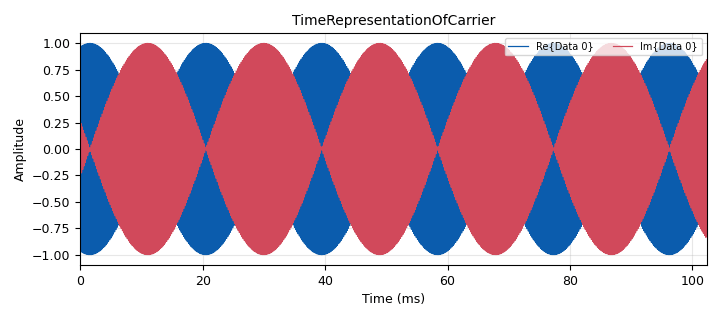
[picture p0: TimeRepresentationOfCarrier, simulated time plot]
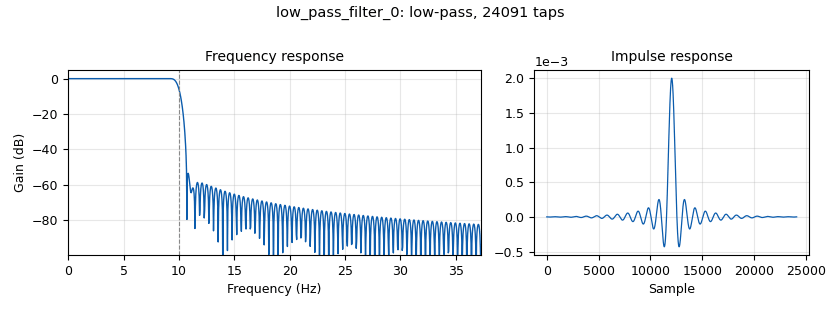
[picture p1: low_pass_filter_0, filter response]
<?xml version='1.0' encoding='utf-8'?>
<?grc format='1' created='3.7.9'?>
<flow_graph>
<block>
<key>options</key>
<param><key>id</key><value>top_block</value></param>
<param><key>category</key><value>Custom</value></param>
<param><key>generate_options</key><value>qt_gui</value></param>
</block>
<block>
<key>variable</key>
<param><key>id</key><value>freq</value></param>
<param><key>value</key><value>2e3</value></param>
</block>
<block>
<key>variable_qtgui_range</key>
<param><key>id</key><value>samp_rate</value></param>
<param><key>value</key><value>10e3</value></param>
<param><key>orient</key><value>Qt.Horizontal</value></param>
<param><key>start</key><value>1e3</value></param>
<param><key>step</key><value>200</value></param>
<param><key>stop</key><value>40e3</value></param>
</block>
<block>
<key>qtgui_freq_sink_x</key>
<param><key>id</key><value>FrequencyDomainOfDemodulatedSignal</value></param>
<param><key>autoscale</key><value>True</value></param>
<param><key>bw</key><value>1000e6</value></param>
<param><key>fc</key><value>0</value></param>
<param><key>ctrlpanel</key><value>True</value></param>
<param><key>fftsize</key><value>1024</value></param>
<param><key>grid</key><value>True</value></param>
<param><key>showports</key><value>True</value></param>
<param><key>type</key><value>complex</value></param>
<param><key>wintype</key><value>firdes.WIN_BLACKMAN_hARRIS</value></param>
</block>
<block>
<key>qtgui_freq_sink_x</key>
<param><key>id</key><value>LPDemodulatedSignal</value></param>
<param><key>autoscale</key><value>True</value></param>
<param><key>bw</key><value>samp_rate</value></param>
<param><key>fc</key><value>0</value></param>
<param><key>ctrlpanel</key><value>True</value></param>
<param><key>fftsize</key><value>1024</value></param>
<param><key>grid</key><value>True</value></param>
<param><key>showports</key><value>True</value></param>
<param><key>type</key><value>complex</value></param>
<param><key>wintype</key><value>firdes.WIN_BLACKMAN_hARRIS</value></param>
</block>
<block>
<key>qtgui_freq_sink_x</key>
<param><key>id</key><value>LPDemodulatedSignal_0</value></param>
<param><key>autoscale</key><value>True</value></param>
<param><key>bw</key><value>1e9</value></param>
<param><key>fc</key><value>0</value></param>
<param><key>ctrlpanel</key><value>True</value></param>
<param><key>fftsize</key><value>1024</value></param>
<param><key>grid</key><value>True</value></param>
<param><key>showports</key><value>True</value></param>
<param><key>type</key><value>complex</value></param>
<param><key>wintype</key><value>firdes.WIN_BLACKMAN_hARRIS</value></param>
</block>
<block>
<key>qtgui_time_sink_x</key>
<param><key>id</key><value>TimeDomainForDemodSignal</value></param>
<param><key>autoscale</key><value>True</value></param>
<param><key>ctrlpanel</key><value>True</value></param>
<param><key>grid</key><value>True</value></param>
<param><key>color1</key><value>"blue"</value></param>
<param><key>label1</key><value></value></param>
<param><key>size</key><value>1024</value></param>
<param><key>srate</key><value>samp_rate</value></param>
<param><key>type</key><value>float</value></param>
</block>
<block>
<key>qtgui_time_sink_x</key>
<param><key>id</key><value>TimeRepresentationOfCarrier</value></param>
<param><key>autoscale</key><value>True</value></param>
<param><key>ctrlpanel</key><value>True</value></param>
<param><key>grid</key><value>True</value></param>
<param><key>color1</key><value>"blue"</value></param>
<param><key>label1</key><value></value></param>
<param><key>color2</key><value>"red"</value></param>
<param><key>label2</key><value></value></param>
<param><key>size</key><value>1024</value></param>
<param><key>srate</key><value>samp_rate</value></param>
<param><key>type</key><value>complex</value></param>
</block>
<block>
<key>qtgui_time_sink_x</key>
<param><key>id</key><value>TimeRepresentationOfCarrier_0</value></param>
<param><key>autoscale</key><value>True</value></param>
<param><key>ctrlpanel</key><value>True</value></param>
<param><key>grid</key><value>True</value></param>
<param><key>color1</key><value>"blue"</value></param>
<param><key>label1</key><value></value></param>
<param><key>color2</key><value>"red"</value></param>
<param><key>label2</key><value></value></param>
<param><key>size</key><value>1024</value></param>
<param><key>srate</key><value>samp_rate</value></param>
<param><key>type</key><value>complex</value></param>
</block>
<block>
<key>qtgui_time_sink_x</key>
<param><key>id</key><value>Time_1</value></param>
<param><key>_enabled</key><value>0</value></param>
<param><key>color1</key><value>"blue"</value></param>
<param><key>label1</key><value></value></param>
<param><key>size</key><value>1024</value></param>
<param><key>srate</key><value>samp_rate</value></param>
<param><key>type</key><value>float</value></param>
</block>
<block>
<key>analog_sig_source_x</key>
<param><key>id</key><value>analog_sig_source_x_0</value></param>
<param><key>amp</key><value>1</value></param>
<param><key>_enabled</key><value>0</value></param>
<param><key>freq</key><value>freq</value></param>
<param><key>offset</key><value>0</value></param>
<param><key>type</key><value>float</value></param>
<param><key>samp_rate</key><value>samp_rate</value></param>
<param><key>waveform</key><value>analog.GR_COS_WAVE</value></param>
</block>
<block>
<key>analog_sig_source_x</key>
<param><key>id</key><value>analog_sig_source_x_0_0</value></param>
<param><key>amp</key><value>1</value></param>
<param><key>freq</key><value>434.015e6</value></param>
<param><key>offset</key><value>0</value></param>
<param><key>type</key><value>complex</value></param>
<param><key>samp_rate</key><value>samp_rate</value></param>
<param><key>waveform</key><value>analog.GR_SIN_WAVE</value></param>
</block>
<block>
<key>analog_sig_source_x</key>
<param><key>id</key><value>analog_sig_source_x_0_0_0</value></param>
<param><key>amp</key><value>1</value></param>
<param><key>_enabled</key><value>0</value></param>
<param><key>freq</key><value>10</value></param>
<param><key>offset</key><value>0</value></param>
<param><key>type</key><value>int</value></param>
<param><key>samp_rate</key><value>samp_rate</value></param>
<param><key>waveform</key><value>analog.GR_SQR_WAVE</value></param>
</block>
<block>
<key>blocks_complex_to_mag</key>
<param><key>id</key><value>blocks_complex_to_mag_0</value></param>
</block>
<block>
<key>blocks_multiply_const_vxx</key>
<param><key>id</key><value>blocks_multiply_const_vxx_0</value></param>
<param><key>const</key><value>2</value></param>
<param><key>type</key><value>float</value></param>
</block>
<block>
<key>blocks_multiply_xx</key>
<param><key>id</key><value>blocks_multiply_xx_0</value></param>
<param><key>_enabled</key><value>0</value></param>
<param><key>type</key><value>complex</value></param>
</block>
<block>
<key>blocks_multiply_xx</key>
<param><key>id</key><value>blocks_multiply_xx_0_0</value></param>
<param><key>type</key><value>complex</value></param>
</block>
<block>
<key>blocks_sample_and_hold_xx</key>
<param><key>id</key><value>blocks_sample_and_hold_xx_0</value></param>
<param><key>_enabled</key><value>0</value></param>
<param><key>type</key><value>float</value></param>
</block>
<block>
<key>blocks_threshold_ff</key>
<param><key>id</key><value>blocks_threshold_ff_0</value></param>
<param><key>_enabled</key><value>0</value></param>
<param><key>high</key><value>100</value></param>
<param><key>init</key><value>0</value></param>
<param><key>low</key><value>-100</value></param>
</block>
<block>
<key>blocks_throttle</key>
<param><key>id</key><value>blocks_throttle_0</value></param>
<param><key>_enabled</key><value>0</value></param>
<param><key>samples_per_second</key><value>samp_rate</value></param>
<param><key>type</key><value>float</value></param>
</block>
<block>
<key>low_pass_filter</key>
<param><key>id</key><value>low_pass_filter_0</value></param>
<param><key>cutoff_freq</key><value>10</value></param>
<param><key>decim</key><value>1</value></param>
<param><key>type</key><value>fir_filter_ccf</value></param>
<param><key>gain</key><value>1</value></param>
<param><key>samp_rate</key><value>samp_rate</value></param>
<param><key>width</key><value>1</value></param>
<param><key>win</key><value>firdes.WIN_HAMMING</value></param>
</block>
<block>
<key>qtgui_tab_widget</key>
<param><key>id</key><value>qtgui_tab_widget_0</value></param>
<param><key>label0</key><value>LPDemodulatedSignal</value></param>
<param><key>label1</key><value>FrequencyDomainOfDemodulatedSignal</value></param>
<param><key>label2</key><value>TimeRepresentationOfCarrier</value></param>
<param><key>label3</key><value>TimeDomainForDemodSignal</value></param>
<param><key>num_tabs</key><value>4</value></param>
</block>
<block>
<key>rational_resampler_xxx</key>
<param><key>id</key><value>rational_resampler_xxx_0</value></param>
<param><key>decim</key><value>1</value></param>
<param><key>fbw</key><value>0.45</value></param>
<param><key>interp</key><value>1</value></param>
<param><key>taps</key><value></value></param>
<param><key>type</key><value>fff</value></param>
</block>
<block>
<key>rtlsdr_source</key>
<param><key>id</key><value>rtlsdr_source_0</value></param>
<param><key>bb_gain0</key><value>20</value></param>
<param><key>bw0</key><value>10000</value></param>
<param><key>freq0</key><value>freq</value></param>
<param><key>gain_mode0</key><value>False</value></param>
<param><key>if_gain0</key><value>20</value></param>
<param><key>gain0</key><value>37.2</value></param>
<param><key>args</key><value></value></param>
<param><key>type</key><value>fc32</value></param>
<param><key>sample_rate</key><value>samp_rate</value></param>
<param><key>sync</key><value></value></param>
</block>
<connection><source_block_id>analog_sig_source_x_0</source_block_id><sink_block_id>blocks_multiply_xx_0</sink_block_id><source_key>0</source_key><sink_key>0</sink_key></connection>
<connection><source_block_id>analog_sig_source_x_0_0</source_block_id><sink_block_id>TimeRepresentationOfCarrier</sink_block_id><source_key>0</source_key><sink_key>0</sink_key></connection>
<connection><source_block_id>analog_sig_source_x_0_0</source_block_id><sink_block_id>blocks_multiply_xx_0_0</sink_block_id><source_key>0</source_key><sink_key>1</sink_key></connection>
<connection><source_block_id>analog_sig_source_x_0_0_0</source_block_id><sink_block_id>blocks_threshold_ff_0</sink_block_id><source_key>0</source_key><sink_key>0</sink_key></connection>
<connection><source_block_id>blocks_complex_to_mag_0</source_block_id><sink_block_id>blocks_multiply_const_vxx_0</sink_block_id><source_key>0</source_key><sink_key>0</sink_key></connection>
<connection><source_block_id>blocks_multiply_const_vxx_0</source_block_id><sink_block_id>blocks_sample_and_hold_xx_0</sink_block_id><source_key>0</source_key><sink_key>0</sink_key></connection>
<connection><source_block_id>blocks_multiply_const_vxx_0</source_block_id><sink_block_id>rational_resampler_xxx_0</sink_block_id><source_key>0</source_key><sink_key>0</sink_key></connection>
<connection><source_block_id>blocks_multiply_xx_0</source_block_id><sink_block_id>FrequencyDomainOfDemodulatedSignal</sink_block_id><source_key>0</source_key><sink_key>0</sink_key></connection>
<connection><source_block_id>blocks_multiply_xx_0</source_block_id><sink_block_id>blocks_multiply_xx_0_0</sink_block_id><source_key>0</source_key><sink_key>0</sink_key></connection>
<connection><source_block_id>blocks_multiply_xx_0_0</source_block_id><sink_block_id>FrequencyDomainOfDemodulatedSignal</sink_block_id><source_key>0</source_key><sink_key>0</sink_key></connection>
<connection><source_block_id>blocks_multiply_xx_0_0</source_block_id><sink_block_id>low_pass_filter_0</sink_block_id><source_key>0</source_key><sink_key>0</sink_key></connection>
<connection><source_block_id>blocks_sample_and_hold_xx_0</source_block_id><sink_block_id>Time_1</sink_block_id><source_key>0</source_key><sink_key>0</sink_key></connection>
<connection><source_block_id>blocks_threshold_ff_0</source_block_id><sink_block_id>blocks_sample_and_hold_xx_0</sink_block_id><source_key>0</source_key><sink_key>1</sink_key></connection>
<connection><source_block_id>blocks_throttle_0</source_block_id><sink_block_id>LPDemodulatedSignal</sink_block_id><source_key>0</source_key><sink_key>0</sink_key></connection>
<connection><source_block_id>blocks_throttle_0</source_block_id><sink_block_id>TimeDomainForDemodSignal</sink_block_id><source_key>0</source_key><sink_key>0</sink_key></connection>
<connection><source_block_id>low_pass_filter_0</source_block_id><sink_block_id>LPDemodulatedSignal</sink_block_id><source_key>0</source_key><sink_key>0</sink_key></connection>
<connection><source_block_id>low_pass_filter_0</source_block_id><sink_block_id>blocks_complex_to_mag_0</sink_block_id><source_key>0</source_key><sink_key>0</sink_key></connection>
<connection><source_block_id>low_pass_filter_0</source_block_id><sink_block_id>blocks_throttle_0</sink_block_id><source_key>0</source_key><sink_key>0</sink_key></connection>
<connection><source_block_id>rational_resampler_xxx_0</source_block_id><sink_block_id>TimeDomainForDemodSignal</sink_block_id><source_key>0</source_key><sink_key>0</sink_key></connection>
<connection><source_block_id>rtlsdr_source_0</source_block_id><sink_block_id>LPDemodulatedSignal_0</sink_block_id><source_key>0</source_key><sink_key>0</sink_key></connection>
<connection><source_block_id>rtlsdr_source_0</source_block_id><sink_block_id>TimeRepresentationOfCarrier_0</sink_block_id><source_key>0</source_key><sink_key>0</sink_key></connection>
<connection><source_block_id>rtlsdr_source_0</source_block_id><sink_block_id>blocks_multiply_xx_0</sink_block_id><source_key>0</source_key><sink_key>0</sink_key></connection>
<connection><source_block_id>rtlsdr_source_0</source_block_id><sink_block_id>blocks_multiply_xx_0_0</sink_block_id><source_key>0</source_key><sink_key>0</sink_key></connection>
</flow_graph>
